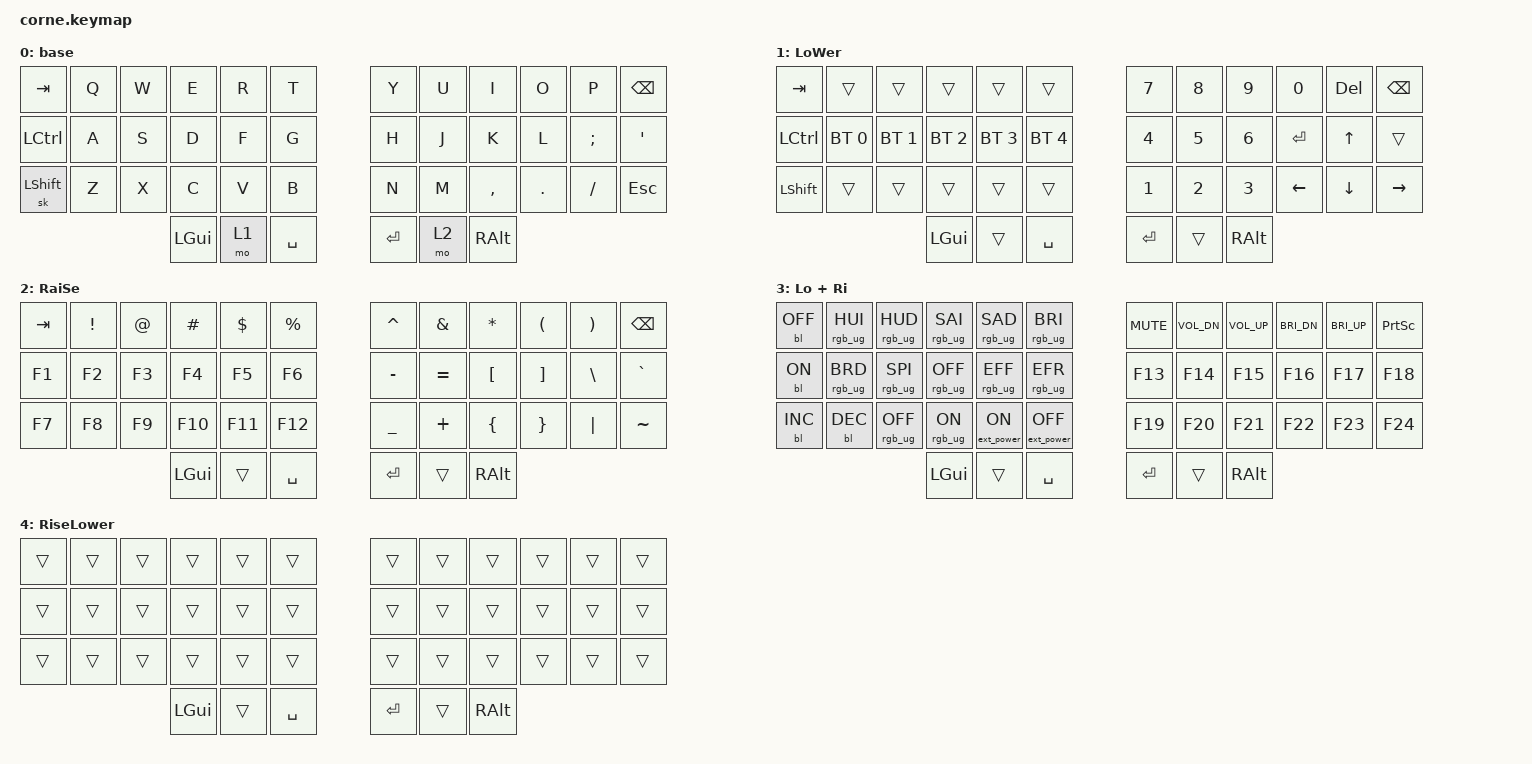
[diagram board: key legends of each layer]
/*
 * Copyright (c) 2020 The ZMK Contributors
 *
 * SPDX-License-Identifier: MIT
 */

#include <behaviors.dtsi>
#include <dt-bindings/zmk/keys.h>
#include <dt-bindings/zmk/bt.h>

#include <dt-bindings/zmk/ext_power.h>
#include <dt-bindings/zmk/backlight.h>
#include <dt-bindings/zmk/rgb.h>


    // ╭────┬────┬────┬────┬────┬────╮ ╭────┬────┬────┬────┬────┬────╮
    // │ 01 │ 02 │ 03 │ 04 │ 05 │ 06 │ │ 07 │ 08 │ 09 │ 10 │ 11 │ 12 │
    // ├────┼────┼────┼────┼────┼────┤ ├────┼────┼────┼────┼────┼────┤
    // │ 13 │ 14 │ 15 │ 16 │ 17 │ 18 │ │ 19 │ 20 │ 21 │ 22 │ 23 │ 24 │
    // ├────┼────┼────┼────┼────┼────┤ ├────┼────┼────┼────┼────┼────┤
    // │ 25 │ 26 │ 27 │ 28 │ 29 │ 30 │ │ 31 │ 32 │ 33 │ 34 │ 35 │ 36 │
    // ╰────┴────┴────┼────┼────┼────┤ ├────┼────┼────┼────┴────┴────╯
    //                │ 37 │ 38 │ 39 │ │ 40 │ 41 │ 42 │
    //                ╰────┴────┴────╯ ╰────┴────┴────╯

/ {
    combos {
        compatible = "zmk,combos";

	    combo_lower_raise {
            timeout-ms = <200>;
            key-positions = <37 40>;
            bindings = <&mo 3>;
	    #slow-release;
        };
     };

        keymap {
                compatible = "zmk,keymap";

                default_layer {
                display-name = "base";
// -----------------------------------------------------------------------------------------
// |  TAB |  Q  |  W  |  E  |  R  |  T  |   |  Y  |  U   |  I  |  O  |  P  | BKSP |
// | CTRL |  A  |  S  |  D  |  F  |  G  |   |  H  |  J   |  K  |  L  |  ;  |  '   |
// | SHFT |  Z  |  X  |  C  |  V  |  B  |   |  N  |  M   |  ,  |  .  |  /  | ESC  |
//                    | GUI | LWR | SPC |   | ENT | RSE  | ALT |
  bindings = <
   &kp TAB   &kp Q &kp W &kp E &kp R &kp T   &kp Y &kp U  &kp I     &kp O   &kp P    &kp BSPC
   &kp LCTRL &kp A &kp S &kp D &kp F &kp G   &kp H &kp J  &kp K     &kp L   &kp SEMI &kp SQT
   &sk LSHIFT &kp Z &kp X &kp C &kp V &kp B   &kp N &kp M  &kp COMMA &kp DOT &kp FSLH &kp ESC
                  &kp LGUI &mo 1 &kp SPACE   &kp RET &mo 2 &kp RALT
                        >;
                };
                lower_layer {
                display-name = "LoWer";
// -----------------------------------------------------------------------------------------
// |  TAB |     |     |     |     |     |   |  7  |  8  |  9  |  0  | DEL | BKSP |
// | CTRL | BT1 | BT2 | BT3 | BT4 | BT5 |   |  4  |  5  |  6  |  .  |  UP |      |
// | SHFT |     |     |     |     |     |   |  1  |  2  |  3  | LFT | DWN | RGT  |
//                    | GUI |     | SPC |   | ENT |     | ALT |
                        bindings = <
   &kp TAB    &trans   &trans    &trans &trans &trans                            &kp N7   &kp N8   &kp N9 &kp N0    &kp DEL   &kp BSPC
   &kp LCTRL &bt BT_SEL 0 &bt BT_SEL 1 &bt BT_SEL 2 &bt BT_SEL 3 &bt BT_SEL 4    &kp N4   &kp N5   &kp N6 &kp RET   &kp UP    &trans
   &kp LSHFT  &trans       &trans       &trans       &trans       &trans         &kp N1   &kp N2   &kp N3 &kp LEFT  &kp DOWN  &kp RIGHT
                                        &kp LGUI     &trans       &kp SPACE      &kp RET  &trans   &kp RALT
                        >;
                };

                raise_layer {
                display-name = "RaiSe";
// -----------------------------------------------------------------------------------------
// |  TAB |  !  |  @  |  #  |  $  |  %  |   |  ^  |  &  |  *  |  (  |  )  | BKSP |
// |  F1  | F2  | F3  | F4  | F5  | F6  |   |  -  |  =  |  [  |  ]  |  \  |  `   |
// |  F7  | F8  | F9  | F10 | F11 | F12 |   |  _  |  +  |  {  |  }  | "|" |  ~   |
//                    | GUI |     | SPC |   | ENT |     | ALT |
                        bindings = <
   &kp  TAB  &kp EXCL &kp AT &kp HASH &kp DLLR &kp PRCNT   &kp CARET &kp AMPS  &kp ASTRK &kp LPAR &kp RPAR &kp BSPC
   &kp F1 &kp F2   &kp F3 &kp F4   &kp F5   &kp F6         &kp MINUS &kp EQUAL &kp LBKT  &kp RBKT &kp BSLH &kp GRAVE
   &kp F7 &kp F8   &kp F9 &kp F10  &kp F11  &kp F12        &kp UNDER &kp PLUS  &kp LBRC  &kp RBRC &kp PIPE &kp TILDE
                          &kp LGUI &trans &kp SPACE        &kp RET   &trans    &kp RALT
                        >;
                };
                lower_raise {
                display-name = "Lo + Ri";
// &mo 3
// -----------------------------------------------------------------------------------------
// |BL_OFF|RGB_HUI|RGB_HUD |RGB_SAI| RGB_SAD|RGB_BRI|   |C_MUTE|C_VOL_DN|C_VOL_UP|C_BRI_DN|C_BRI_UP|PSCRN|
// |BL_ON |RGB_BRD|RGB_SPI |RGB_OFF| RGB_EFF|RGB_EFR|   |  F13 |  F14   |  F15   |  F16   |  F17   | F18 |
// |BL_INC|BL_DEC |RGB_OFF |RGB_ON | EP_ON  |EP_OFF |   |  F19 |  F20   |  F21   |  F22   |  F23   | F24 |
//                         |  GUI  |        |  SPC  |   | ENT  |        |   ALT  |
                        bindings = <
   &bl BL_OFF &rgb_ug RGB_HUI &rgb_ug RGB_HUD &rgb_ug RGB_SAI &rgb_ug RGB_SAD &rgb_ug RGB_BRI      &kp C_MUTE &kp C_VOL_DN &kp C_VOL_UP &kp C_BRI_DN &kp C_BRI_UP &kp PSCRN
   &bl BL_ON  &rgb_ug RGB_BRD &rgb_ug RGB_SPI &rgb_ug RGB_OFF &rgb_ug RGB_EFF &rgb_ug RGB_EFR      &kp F13 &kp F14 &kp F15 &kp F16 &kp F17 &kp F18 
   &bl BL_INC &bl BL_DEC &rgb_ug RGB_OFF &rgb_ug RGB_ON &ext_power EP_ON &ext_power EP_OFF           &kp F19 &kp F20 &kp F21 &kp F22 &kp F23 &kp F24 
                           &kp LGUI &trans   &kp SPACE           &kp RET   &trans    &kp RALT
                        >;
                };
                rise_lower {
                display-name = "RiseLower";
// &mo 4
// -----------------------------------------------------------------------------------------
// |      |     |     |     |     |     |   |     |     |     |     |     |      |
// |      |     |     |     |     |     |   |     |     |     |     |     |      |
// |      |     |     |     |     |     |   |     |     |     |     |     |      |
//                    | GUI |     | SPC |   | ENT |     | ALT |
                        bindings = <
   &trans &trans &trans &trans &trans &trans         &trans &trans &trans &trans &trans &trans 
   &trans &trans &trans &trans &trans &trans         &trans &trans &trans &trans &trans &trans 
   &trans &trans &trans &trans &trans &trans         &trans &trans &trans &trans &trans &trans 
                &kp LGUI &trans   &kp SPACE           &kp RET   &trans    &kp RALT
                        >;
                };
        };
};
